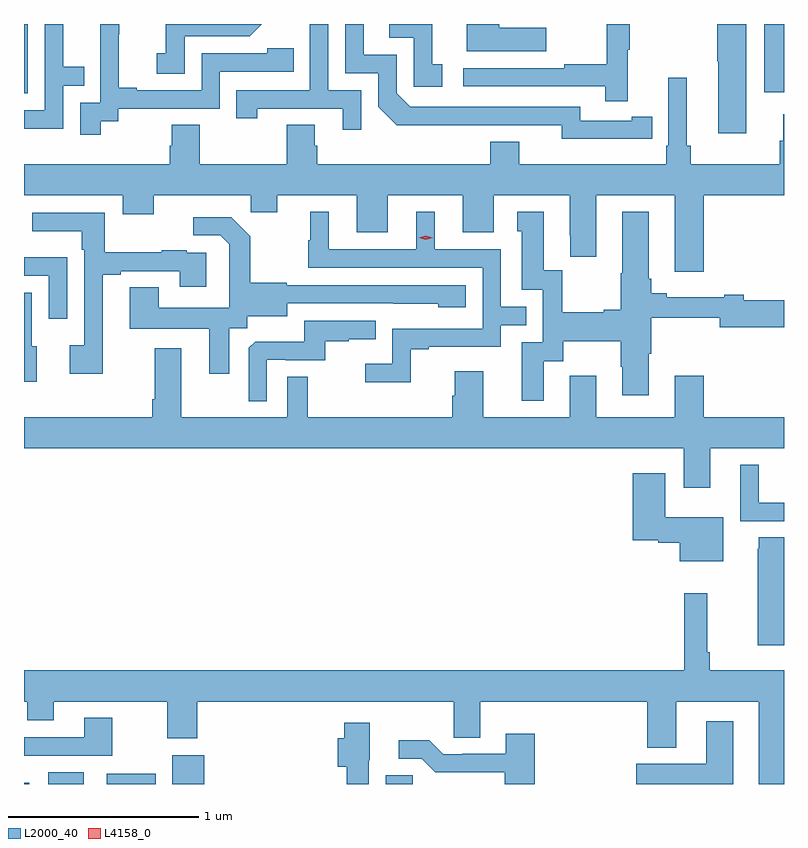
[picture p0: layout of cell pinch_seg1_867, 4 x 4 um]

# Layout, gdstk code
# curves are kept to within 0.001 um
import gdstk
lib = gdstk.Library(unit=1e-6, precision=1e-09)
def R(c, l, rs):  # rectangles x0, y0, x1, y1
    for r in rs: c.add(gdstk.rectangle(r[:2], r[2:], *l))
def P(c, l, *ps):  # polygons
    for p in ps: c.add(gdstk.Polygon(p, *l))
L2000_40 = (2000, 40)
L4158_0 = (4158, 0)

pinch_seg1_867 = lib.new_cell('pinch_seg1_867')
R(pinch_seg1_867, L2000_40, [(526.429,516.666,526.456,516.673), (526.556,516.666,526.744,516.727), (526.865,516.666,527.122,516.721), (527.21,516.666,527.378,516.817), (528.332,516.666,528.474,516.713), (526.429,520.302,526.449,520.666), (530.324,520.307,530.429,520.666)])
P(pinch_seg1_867, L2000_40, [(527.274,520.602),(527.616,520.602),(527.68,520.666),(527.176,520.666),(527.176,520.513),(527.127,520.513),(527.127,520.404),(527.274,520.404)],
  [(529.177,520.645),(528.929,520.645),(528.929,520.666),(528.758,520.666),(528.758,520.523),(529.177,520.523)],
  [(529.607,520.531),(529.618,520.531),(529.618,520.666),(529.497,520.666),(529.497,520.454),(529.273,520.454),(529.273,520.434),(528.741,520.434),(528.741,520.338),(529.489,520.338),(529.489,520.26),(529.607,520.26)],
  [(530.23,520.666),(530.077,520.666),(530.077,520.471),(530.084,520.471),(530.084,520.092),(530.23,520.092)],
  [(528.631,520.455),(528.578,520.455),(528.578,520.666),(528.351,520.666),(528.351,520.593),(528.48,520.593),(528.48,520.335),(528.631,520.335)],
  [(526.635,520.341),(526.745,520.341),(526.745,520.442),(526.635,520.442),(526.635,520.666),(526.539,520.666),(526.539,520.212),(526.429,520.212),(526.429,520.116),(526.635,520.116)],
  [(526.834,520.153),(526.926,520.153),(526.926,520.221),(527.46,520.221),(527.46,520.416),(527.849,520.416),(527.849,520.539),(527.709,520.539),(527.709,520.512),(527.364,520.512),(527.364,520.317),(527.023,520.317),(527.023,520.33),(526.928,520.33),(526.928,520.613),(526.929,520.613),(526.929,520.666),(526.829,520.666),(526.829,520.481),(526.83,520.481),(526.83,520.251),(526.725,520.251),(526.725,520.083),(526.834,520.083)],
  [(528.204,520.317),(528.03,520.317),(528.03,520.666),(527.934,520.666),(527.934,520.317),(527.545,520.317),(527.545,520.17),(527.656,520.17),(527.656,520.221),(528.107,520.221),(528.107,520.11),(528.204,520.11)],
  [(529.628,520.062),(529.736,520.062),(529.736,520.178),(529.628,520.178),(529.628,520.158),(529.356,520.158),(529.356,520.23),(528.462,520.23),(528.39,520.302),(528.39,520.503),(528.217,520.503),(528.217,520.666),(528.12,520.666),(528.12,520.407),(528.294,520.407),(528.294,520.23),(528.392,520.133),(529.26,520.134),(529.26,520.061)],
  [(528.901,519.764),(529.301,519.764),(529.301,519.553),(529.304,519.553),(529.304,519.441),(529.441,519.441),(529.441,519.764),(529.853,519.764),(529.853,519.363),(530.006,519.363),(530.006,519.764),(530.429,519.764),(530.429,520.192),(530.426,520.192),(530.426,520.052),(530.407,520.052),(530.407,519.928),(529.937,519.928),(529.937,520.024),(529.918,520.024),(529.918,520.384),(529.821,520.384),(529.821,520.024),(529.808,520.024),(529.808,519.928),(529.036,519.928),(529.036,520.045),(528.884,520.045),(528.884,519.928),(527.972,519.928),(527.972,520.026),(527.959,520.026),(527.959,520.136),(527.812,520.136),(527.812,519.928),(527.355,519.928),(527.355,520.136),(527.207,520.136),(527.207,520.026),(527.195,520.026),(527.195,519.928),(526.429,519.928),(526.429,519.764),(526.949,519.764),(526.949,519.665),(527.113,519.665),(527.113,519.764),(527.623,519.764),(527.623,519.674),(527.761,519.674),(527.761,519.764),(528.179,519.764),(528.179,519.57),(528.343,519.57),(528.343,519.764),(528.737,519.764),(528.737,519.57),(528.901,519.57)],
  [(529.165,518.89),(529.267,518.89),(529.267,518.996),(529.57,518.996),(529.57,518.862),(529.577,518.862),(529.577,518.712),(529.717,518.712),(529.717,518.93),(529.73,518.93),(529.73,519.12),(530.09,519.12),(530.09,519.07),(530.429,519.07),(530.429,519.212),(530.218,519.212),(530.218,519.241),(530.114,519.241),(530.114,519.229),(529.813,519.229),(529.813,519.248),(529.73,519.248),(529.73,519.325),(529.717,519.325),(529.717,519.679),(529.577,519.679),(529.577,519.353),(529.57,519.353),(529.57,519.161),(529.481,519.161),(529.481,519.148),(529.263,519.148),(529.263,519.371),(529.165,519.371),(529.165,519.679),(529.025,519.679),(529.025,519.576),(529.049,519.576),(529.049,519.267),(529.158,519.267),(529.158,518.991),(529.049,518.991),(529.049,518.682),(529.165,518.682)],
  [(528.465,518.955),(528.559,518.955),(528.559,518.967),(528.939,518.967),(528.939,519.081),(529.073,519.081),(529.073,519.177),(528.939,519.177),(528.939,519.48),(528.592,519.48),(528.592,519.679),(528.494,519.679),(528.494,519.48),(528.034,519.48),(528.034,519.679),(527.936,519.679),(527.936,519.528),(527.925,519.528),(527.925,519.384),(528.843,519.384),(528.843,519.063),(528.366,519.063),(528.366,518.878),(528.225,518.878),(528.225,518.78),(528.465,518.78)],
  [(526.843,519.347),(526.939,519.347),(526.939,519.366),(527.249,519.366),(527.249,519.282),(527.389,519.282),(527.389,519.462),(527.285,519.462),(527.285,519.475),(527.153,519.475),(527.153,519.464),(526.855,519.464),(526.855,519.672),(526.473,519.672),(526.473,519.575),(526.734,519.575),(526.734,519.479),(526.746,519.479),(526.746,518.974),(526.671,518.974),(526.671,518.826),(526.843,518.826)],
  [(527.509,519.064),(527.604,519.064),(527.604,519.128),(527.815,519.128),(527.815,519.195),(528.609,519.194),(528.609,519.176),(528.754,519.176),(528.754,519.291),(527.811,519.291),(527.811,519.304),(527.619,519.304),(527.619,519.549),(527.519,519.649),(527.319,519.649),(527.319,519.555),(527.463,519.555),(527.51,519.508),(527.51,519.413),(527.508,519.413),(527.508,519.172),(527.137,519.172),(527.137,519.281),(526.985,519.281),(526.985,519.062),(527.405,519.062),(527.405,518.826),(527.509,518.826)],
  [(526.656,519.439),(526.429,519.439),(526.429,519.342),(526.56,519.342),(526.56,519.114),(526.656,519.114)],
  [(526.495,518.97),(526.47,518.97),(526.47,519.252),(526.429,519.252),(526.429,518.783),(526.495,518.783)],
  [(527.706,518.898),(527.806,518.898),(527.806,518.895),(528.014,518.895),(528.014,518.996),(528.137,518.996),(528.137,519.008),(528.281,519.008),(528.281,519.105),(527.904,519.105),(527.904,518.993),(527.645,518.993),(527.613,518.961),(527.613,518.681),(527.706,518.681)],
  [(529.901,518.226),(530.041,518.226),(530.041,518.432),(530.429,518.432),(530.429,518.596),(530.006,518.596),(530.006,518.815),(529.853,518.815),(529.853,518.596),(529.441,518.596),(529.441,518.815),(529.301,518.815),(529.301,518.596),(528.847,518.596),(528.847,518.839),(528.695,518.839),(528.695,518.709),(528.683,518.709),(528.683,518.596),(527.923,518.596),(527.923,518.81),(527.814,518.81),(527.814,518.596),(527.257,518.596),(527.257,518.959),(527.117,518.959),(527.117,518.692),(527.105,518.692),(527.105,518.596),(526.429,518.596),(526.429,518.432),(529.901,518.432)],
  [(530.429,518.145),(530.296,518.145),(530.296,518.347),(530.198,518.347),(530.198,518.049),(530.429,518.049)],
  [(530.11,518.071),(529.804,518.071),(529.804,518.302),(529.634,518.302),(529.634,517.949),(529.767,517.949),(529.767,517.937),(529.88,517.937),(529.88,517.838),(530.11,517.838)],
  [(530.429,517.964),(530.297,517.964),(530.297,517.905),(530.291,517.905),(530.291,517.395),(530.429,517.395)],
  [(530.429,517.264),(530.039,517.264),(530.039,517.36),(530.024,517.36),(530.024,517.669),(529.903,517.669),(529.903,517.264),(526.429,517.264),(526.429,517.1),(526.445,517.1),(526.445,517.001),(526.585,517.001),(526.585,517.1),(527.182,517.1),(527.182,516.906),(527.342,516.906),(527.342,517.1),(528.69,517.1),(528.69,516.91),(528.829,516.91),(528.829,517.1),(529.709,517.1),(529.709,516.857),(529.861,516.857),(529.861,517.1),(530.297,517.1),(530.297,516.666),(530.429,516.666)],
  [(526.893,517.015),(526.745,517.015),(526.745,516.912),(526.429,516.912),(526.429,516.816),(526.893,516.816)],
  [(530.161,516.996),(530.021,516.996),(530.021,516.772),(529.652,516.772),(529.652,516.666),(530.161,516.666)],
  [(528.243,516.792),(528.25,516.792),(528.25,516.988),(528.114,516.988),(528.114,516.906),(528.08,516.906),(528.08,516.758),(528.127,516.758),(528.127,516.666),(528.243,516.666)],
  [(529.118,516.931),(528.965,516.931),(528.965,516.825),(528.736,516.825),(528.736,516.822),(528.636,516.822),(528.563,516.895),(528.402,516.895),(528.402,516.798),(528.522,516.798),(528.593,516.728),(528.958,516.728),(528.958,516.666),(529.118,516.666)])
P(pinch_seg1_867, L4158_0, [(528.543,519.531),(528.507,519.54),(528.507,519.541),(528.507,519.541),(528.543,519.551),(528.579,519.541),(528.579,519.541),(528.579,519.54)])

lib.write_gds('pinch_seg1_867.gds')
